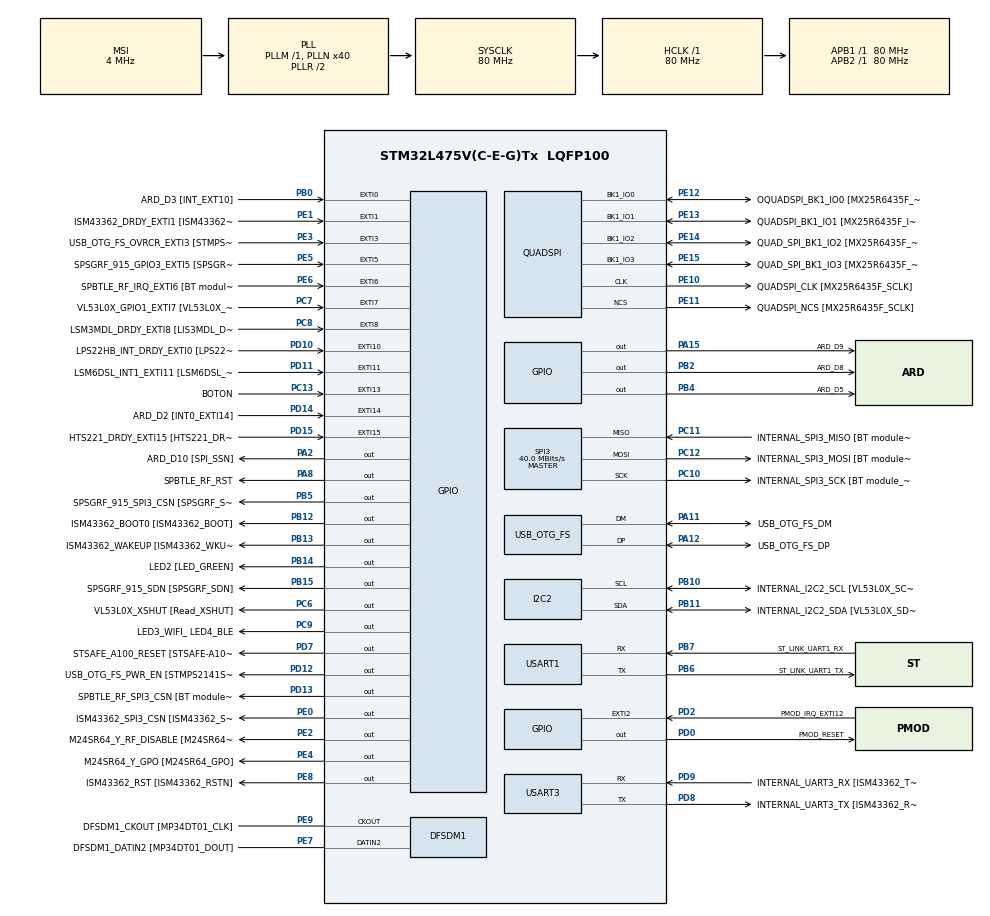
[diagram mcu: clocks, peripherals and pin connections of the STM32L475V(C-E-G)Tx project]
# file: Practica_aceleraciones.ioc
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FREERTOS.Queues01=Acelero,128,uint16_t,0,Dynamic,NULL,NULL
FREERTOS.Tasks01=sendAccel,24,128,sendAccel_func,Default,NULL,Dynamic,NULL,NULL;Notifico_boton,24,128,Notifico_botonfunc,Default,NULL,Dynamic,NULL,NULL
I2C2.Timing=0x10909CEC
Mcu.Family=STM32L4
Mcu.Name=STM32L475V(C-E-G)Tx
Mcu.Package=LQFP100
NVIC.EXTI15_10_IRQn=true\:5\:0\:false\:false\:true\:true\:true\:true\:true
NVIC.EXTI9_5_IRQn=true\:5\:0\:false\:false\:true\:true\:true\:true\:true
NVIC.PriorityGroup=NVIC_PRIORITYGROUP_4
NVIC.TIM6_DAC_IRQn=true\:15\:0\:false\:false\:true\:false\:false\:true\:true
NVIC.TimeBase=TIM6_DAC_IRQn
NVIC.TimeBaseIP=TIM6
PA0.GPIO_Label=ARD_D1 [UART4_TX]
PA0.Signal=UART4_TX
PA1.GPIO_Label=ARD_D0 [UART4_RX]
PA1.Signal=UART4_RX
PA10.GPIO_Label=USB_OTG_FS_ID
PA10.Signal=USB_OTG_FS_ID
PA11.GPIO_Label=USB_OTG_FS_DM
PA11.Mode=Device_Only
PA11.Signal=USB_OTG_FS_DM
PA12.GPIO_Label=USB_OTG_FS_DP
PA12.Mode=Device_Only
PA12.Signal=USB_OTG_FS_DP
PA13\ (JTMS-SWDIO).GPIO_Label=SYS_JTMS_SWDIO
PA13\ (JTMS-SWDIO).Mode=Trace_Asynchronous_SW
PA13\ (JTMS-SWDIO).Signal=SYS_JTMS-SWDIO
PA14\ (JTCK-SWCLK).GPIO_Label=SYS_JTCK_SWCLK
PA14\ (JTCK-SWCLK).Mode=Trace_Asynchronous_SW
PA14\ (JTCK-SWCLK).Signal=SYS_JTCK-SWCLK
PA15\ (JTDI).GPIO_Label=ARD_D9
PA15\ (JTDI).Signal=GPIO_Output
PA2.GPIO_Label=ARD_D10 [SPI_SSN]
PA2.Signal=GPIO_Output
PA3.GPIO_Label=ARD_D4
PA3.Signal=S_TIM2_CH4
PA4.GPIO_Label=ARD_D7
PA4.Signal=ADCx_IN9
PA5.GPIO_Label=ARD_D13 [SPI1_SCK]
PA5.Signal=SPI1_SCK
PA6.GPIO_Label=ARD_D12 [SPI1_MISO]
PA6.Signal=SPI1_MISO
PA7.GPIO_Label=ARD_D11 [SPI1_MOSI]
PA7.Signal=SPI1_MOSI
PA8.GPIO_Label=SPBTLE_RF_RST
PA8.Signal=GPIO_Output
PA9.GPIO_Label=USB_OTG_FS_VBUS [STMPS2141STR_OUT]
PA9.Signal=USB_OTG_FS_VBUS
PB0.GPIO_Label=ARD_D3 [INT_EXT10]
PB0.Signal=GPXTI0
PB1.GPIO_Label=ARD_D6 [ADC1_IN6]
PB1.Signal=ADCx_IN16
PB10.GPIO_Label=INTERNAL_I2C2_SCL [VL53L0X_SCL]
PB10.GPIO_Pu=GPIO_PULLUP
PB10.Mode=I2C
PB10.Signal=I2C2_SCL
PB11.GPIO_Label=INTERNAL_I2C2_SDA [VL53L0X_SDA]
PB11.GPIO_Pu=GPIO_PULLUP
PB11.Mode=I2C
PB11.Signal=I2C2_SDA
PB12.GPIO_Label=ISM43362_BOOT0 [ISM43362_BOOT]
PB12.Signal=GPIO_Output
PB13.GPIO_Label=ISM43362_WAKEUP [ISM43362_WKUP]
PB13.Signal=GPIO_Output
PB14.GPIO_Label=LED2 [LED_GREEN]
PB14.Signal=GPIO_Output
PB15.GPIO_Label=SPSGRF_915_SDN [SPSGRF_SDN]
PB15.Signal=GPIO_Output
PB2.GPIO_Label=ARD_D8
PB2.Signal=GPIO_Output
PB3\ (JTDO-TRACESWO).GPIO_Label=SYS_JTD0_SWO
PB3\ (JTDO-TRACESWO).Mode=Trace_Asynchronous_SW
PB3\ (JTDO-TRACESWO).Signal=SYS_JTDO-SWO
PB4\ (NJTRST).GPIO_Label=ARD_D5
PB4\ (NJTRST).Signal=GPIO_Output
PB5.GPIO_Label=SPSGRF_915_SPI3_CSN [SPSGRF_SPI_CS]
PB5.PinState=GPIO_PIN_SET
PB5.Signal=GPIO_Output
PB6.GPIO_Label=ST_LINK_UART1_TX
PB6.Mode=Asynchronous
PB6.Signal=USART1_TX
PB7.GPIO_Label=ST_LINK_UART1_RX
PB7.Mode=Asynchronous
PB7.Signal=USART1_RX
PB8.GPIO_Label=ARD_D15 [I2C1_SCL]
PB8.Signal=I2C1_SCL
PB9.GPIO_Label=ARD_D14 [I2C1_SDA]
PB9.Signal=I2C1_SDA
PC0.GPIO_Label=ARD_A5 [ADC]
PC0.Signal=ADCx_IN1
PC1.GPIO_Label=ARD_A4 [ADC]
PC1.Signal=ADCx_IN2
PC10.GPIO_Label=INTERNAL_SPI3_SCK [BT module_SPI_SCLK] [ISM43362_SCK]
PC10.Mode=Full_Duplex_Master
PC10.Signal=SPI3_SCK
PC11.GPIO_Label=INTERNAL_SPI3_MISO [BT module_SPI_MISO] [ISM43362_MISO]
PC11.Mode=Full_Duplex_Master
PC11.Signal=SPI3_MISO
PC12.GPIO_Label=INTERNAL_SPI3_MOSI [BT module_SPI_MOSI] [ISM43362_MOSI]
PC12.Mode=Full_Duplex_Master
PC12.Signal=SPI3_MOSI
PC13.GPIO_Label=BOTON
PC13.GPIO_ModeDefaultEXTI=GPIO_MODE_IT_FALLING
PC13.Signal=GPXTI13
PC14-OSC32_IN\ (PC14).Mode=LSE-External-Oscillator
PC14-OSC32_IN\ (PC14).Signal=RCC_OSC32_IN
PC15-OSC32_OUT\ (PC15).Mode=LSE-External-Oscillator
PC15-OSC32_OUT\ (PC15).Signal=RCC_OSC32_OUT
PC2.GPIO_Label=ARD_A3 [ADC]
PC2.Signal=ADCx_IN3
PC3.GPIO_Label=ARD_A2 [ADC]
PC3.Signal=ADCx_IN4
PC4.GPIO_Label=ARD_A1 [ADC]
PC4.Signal=ADCx_IN13
PC5.GPIO_Label=ARD_A0 [ADC]
PC5.Signal=ADCx_IN14
PC6.GPIO_Label=VL53L0X_XSHUT [Read_XSHUT]
PC6.Signal=GPIO_Output
PC7.GPIO_Label=VL53L0X_GPIO1_EXTI7 [VL53L0X_GPIO1]
PC7.Signal=GPXTI7
PC8.GPIO_Label=LSM3MDL_DRDY_EXTI8 [LIS3MDL_DRDY]
PC8.Signal=GPXTI8
PC9.GPIO_Label=LED3_WIFI_ LED4_BLE
PC9.Signal=GPIO_Output
PD0.GPIO_Label=PMOD_RESET
PD0.Signal=GPIO_Output
PD1.GPIO_Label=PMOD_SPI2_SCK
PD1.Signal=SPI2_SCK
PD10.GPIO_Label=LPS22HB_INT_DRDY_EXTI0 [LPS22HB_INT_DRDY] 
PD10.Signal=GPXTI10
PD11.GPIO_Label=LSM6DSL_INT1_EXTI11 [LSM6DSL_INT1]
PD11.Signal=GPXTI11
PD12.GPIO_Label=USB_OTG_FS_PWR_EN [STMPS2141STR_EN]
PD12.Signal=GPIO_Output
PD13.GPIO_Label=SPBTLE_RF_SPI3_CSN [BT module_SPI_CS]
PD13.PinState=GPIO_PIN_SET
PD13.Signal=GPIO_Output
PD14.GPIO_Label=ARD_D2 [INT0_EXTI14]
PD14.Signal=GPXTI14
PD15.GPIO_Label=HTS221_DRDY_EXTI15 [HTS221_DRDY]
PD15.Signal=GPXTI15
PD2.GPIO_Label=PMOD_IRQ_EXTI12
PD2.Signal=GPXTI2
PD3.GPIO_Label=PMOD_UART2_CTS
PD3.Signal=USART2_CTS
PD4.GPIO_Label=PMOD_UART2_RTS
PD4.Signal=USART2_RTS
PD5.GPIO_Label=PMOD_UART2_TX
PD5.Signal=USART2_TX
PD6.GPIO_Label=PMOD_UART2_RX
PD6.Signal=USART2_RX
PD7.GPIO_Label=STSAFE_A100_RESET [STSAFE-A100_RESET]
PD7.Signal=GPIO_Output
PD8.GPIO_Label=INTERNAL_UART3_TX [ISM43362_RX]
PD8.Mode=Asynchronous
PD8.Signal=USART3_TX
PD9.GPIO_Label=INTERNAL_UART3_RX [ISM43362_TX]
PD9.Mode=Asynchronous
PD9.Signal=USART3_RX
PE0.GPIO_Label=ISM43362_SPI3_CSN [ISM43362_SSN]
PE0.PinState=GPIO_PIN_SET
PE0.Signal=GPIO_Output
PE1.GPIO_Label=ISM43362_DRDY_EXTI1 [ISM43362_DATARDY]
PE1.Signal=GPXTI1
PE10.GPIO_Label=QUADSPI_CLK [MX25R6435F_SCLK]
PE10.Mode=Single Bank
PE10.Signal=QUADSPI_CLK
PE11.GPIO_Label=QUADSPI_NCS [MX25R6435F_SCLK]
PE11.Mode=Single Bank
PE11.Signal=QUADSPI_NCS
PE12.GPIO_Label=OQUADSPI_BK1_IO0 [MX25R6435F_IO0]
PE12.Mode=Single Bank
PE12.Signal=QUADSPI_BK1_IO0
PE13.GPIO_Label=QUADSPI_BK1_IO1 [MX25R6435F_IO1]
PE13.Mode=Single Bank
PE13.Signal=QUADSPI_BK1_IO1
PE14.GPIO_Label=QUAD_SPI_BK1_IO2 [MX25R6435F_IO2]
PE14.Mode=Single Bank
PE14.Signal=QUADSPI_BK1_IO2
PE15.GPIO_Label=QUAD_SPI_BK1_IO3 [MX25R6435F_IO3]
PE15.Mode=Single Bank
PE15.Signal=QUADSPI_BK1_IO3
PE2.GPIO_Label=M24SR64_Y_RF_DISABLE [M24SR64_RFDIS]
PE2.Signal=GPIO_Output
PE3.GPIO_Label=USB_OTG_FS_OVRCR_EXTI3 [STMPS2141STR_FAULT]
PE3.Signal=GPXTI3
PE4.GPIO_Label=M24SR64_Y_GPO [M24SR64_GPO]
PE4.Signal=GPIO_Output
PE5.GPIO_Label=SPSGRF_915_GPIO3_EXTI5 [SPSGRF_GPIO_3]
PE5.Signal=GPXTI5
PE6.GPIO_Label=SPBTLE_RF_IRQ_EXTI6 [BT module_SPI_IRQ]
PE6.Signal=GPXTI6
PE7.GPIO_Label=DFSDM1_DATIN2 [MP34DT01_DOUT]
PE7.Signal=S_DATAIN2DFSDM1
PE8.GPIO_Label=ISM43362_RST [ISM43362_RSTN]
PE8.Signal=GPIO_Output
PE9.GPIO_Label=DFSDM1_CKOUT [MP34DT01_CLK]
PE9.Signal=S_CKOUTDFSDM1
ProjectManager.HeapSize=0x200
ProjectManager.StackSize=0x400
ProjectManager.TargetToolchain=STM32CubeIDE
QUADSPI.ClockPrescaler=2
QUADSPI.FifoThreshold=4
QUADSPI.FlashSize=23
QUADSPI.SampleShifting=QSPI_SAMPLE_SHIFTING_HALFCYCLE
RCC.ADCFreq_Value=48000000
RCC.AHBFreq_Value=80000000
RCC.APB1Freq_Value=80000000
RCC.APB1TimFreq_Value=80000000
RCC.APB2Freq_Value=80000000
RCC.APB2TimFreq_Value=80000000
RCC.CortexFreq_Value=80000000
RCC.HCLKFreq_Value=80000000
RCC.HSE_VALUE=8000000
RCC.HSI_VALUE=16000000
RCC.MSI_VALUE=4000000
RCC.PLLN=40
RCC.PLLSAI1N=24
RCC.SYSCLKFreq_VALUE=80000000
RCC.SYSCLKSource=RCC_SYSCLKSOURCE_PLLCLK
RCC.USBFreq_Value=48000000
RCC.VCOOutputFreq_Value=160000000
SH.ADCx_IN1.0=ADC1_IN1
SH.ADCx_IN13.0=ADC1_IN13
SH.ADCx_IN14.0=ADC1_IN14
SH.ADCx_IN16.0=ADC1_IN16
SH.ADCx_IN2.0=ADC1_IN2
SH.ADCx_IN3.0=ADC1_IN3
SH.ADCx_IN4.0=ADC1_IN4
SH.ADCx_IN9.0=ADC1_IN9
SH.S_CKOUTDFSDM1.0=DFSDM1_CKOUT,CKOUT
SH.S_CKOUTDFSDM1.1=DFSDM1_CKOUT,PDM_SPI_Input_from_ch12_and_Internal_Clock
SH.S_DATAIN2DFSDM1.0=DFSDM1_DATIN2,PDM_SPI_Input_from_ch12_and_Internal_Clock
SH.S_TIM2_CH4.0=TIM2_CH4
SPI3.CalculateBaudRate=40.0 MBits/s
SPI3.Direction=SPI_DIRECTION_2LINES
SPI3.Mode=SPI_MODE_MASTER
SPI3.VirtualType=VM_MASTER
USART1.VirtualMode-Asynchronous=VM_ASYNC
USART3.VirtualMode-Asynchronous=VM_ASYNC
USB_OTG_FS.VirtualMode=Device_Only
VP_FREERTOS_VS_CMSIS_V2.Mode=CMSIS_V2
VP_SYS_VS_tim6.Mode=TIM6
board=B-L475E-IOT01A2

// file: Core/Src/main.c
/* USER CODE BEGIN Header */
/**
  ******************************************************************************
  * @file           : main.c
  * @brief          : Main program body
  ******************************************************************************
  * @attention
  *
  * Copyright (c) 2022 STMicroelectronics.
  * All rights reserved.
  *
  * This software is licensed under terms that can be found in the LICENSE file
  * in the root directory of this software component.
  * If no LICENSE file comes with this software, it is provided AS-IS.
  *
  ******************************************************************************
  */
/* USER CODE END Header */
#include "main.h"
#include "cmsis_os.h"

/* USER CODE BEGIN Includes */
#include "stdio.h"
#include "stm32l475e_iot01_accelero.h"
/* USER CODE END Includes */

DFSDM_Channel_HandleTypeDef hdfsdm1_channel1;

I2C_HandleTypeDef hi2c2;

QSPI_HandleTypeDef hqspi;

SPI_HandleTypeDef hspi3;

UART_HandleTypeDef huart1;
UART_HandleTypeDef huart3;

PCD_HandleTypeDef hpcd_USB_OTG_FS;

/* Definitions for sendAccel */
osThreadId_t sendAccelHandle;
const osThreadAttr_t sendAccel_attributes = {
  .name = "sendAccel",
  .stack_size = 128 * 4,
  .priority = (osPriority_t) osPriorityNormal,
};
/* Definitions for Notifico_boton */
osThreadId_t Notifico_botonHandle;
const osThreadAttr_t Notifico_boton_attributes = {
  .name = "Notifico_boton",
  .stack_size = 128 * 4,
  .priority = (osPriority_t) osPriorityNormal,
};
/* Definitions for Acelero */
osMessageQueueId_t AceleroHandle;
const osMessageQueueAttr_t Acelero_attributes = {
  .name = "Acelero"
};
/* USER CODE BEGIN PV */
uint8_t monitoreo_normal=0;
/* USER CODE END PV */

void SystemClock_Config(void);
static void MX_GPIO_Init(void);
static void MX_DFSDM1_Init(void);
static void MX_I2C2_Init(void);
static void MX_QUADSPI_Init(void);
static void MX_SPI3_Init(void);
static void MX_USART1_UART_Init(void);
static void MX_USART3_UART_Init(void);
static void MX_USB_OTG_FS_PCD_Init(void);
void sendAccel_func(void *argument);
void Notifico_botonfunc(void *argument);

/* USER CODE BEGIN PFP */
ACCELERO_StatusTypeDef BSP_ACCELERO_Init_INT(void);
/* USER CODE END PFP */

int main(void)
{

  /* MCU Configuration--------------------------------------------------------*/

  /* Reset of all peripherals, Initializes the Flash interface and the Systick. */
  HAL_Init();

  /* Configure the system clock */
  SystemClock_Config();

  /* Initialize all configured peripherals */
  MX_GPIO_Init();
  MX_DFSDM1_Init();
  MX_I2C2_Init();
  MX_QUADSPI_Init();
  MX_SPI3_Init();
  MX_USART1_UART_Init();
  MX_USART3_UART_Init();
  MX_USB_OTG_FS_PCD_Init();
  /* USER CODE BEGIN 2 */
  ACCELERO_StatusTypeDef status_acc;
  status_acc = BSP_ACCELERO_Init_INT();
  if(status_acc == ACCELERO_OK){
	  printf("Inicializado ACCELERO\r\n");
  }
  /* USER CODE END 2 */

  /* Init scheduler */
  osKernelInitialize();

  /* Create the queue(s) */
  /* creation of Acelero */
  AceleroHandle = osMessageQueueNew (128, sizeof(uint16_t), &Acelero_attributes);

  /* Create the thread(s) */
  /* creation of sendAccel */
  sendAccelHandle = osThreadNew(sendAccel_func, NULL, &sendAccel_attributes);

  /* creation of Notifico_boton */
  Notifico_botonHandle = osThreadNew(Notifico_botonfunc, NULL, &Notifico_boton_attributes);

  /* Start scheduler */
  osKernelStart();

  /* We should never get here as control is now taken by the scheduler */
  /* Infinite loop */
  while (1)
  {

  }
}

void SystemClock_Config(void)
{
  RCC_OscInitTypeDef RCC_OscInitStruct = {0};
  RCC_ClkInitTypeDef RCC_ClkInitStruct = {0};

  /** Configure the main internal regulator output voltage
  */
  if (HAL_PWREx_ControlVoltageScaling(PWR_REGULATOR_VOLTAGE_SCALE1) != HAL_OK)
  {
    Error_Handler();
  }

  /** Configure LSE Drive Capability
  */
  HAL_PWR_EnableBkUpAccess();
  __HAL_RCC_LSEDRIVE_CONFIG(RCC_LSEDRIVE_LOW);

  /** Initializes the RCC Oscillators according to the specified parameters
  * in the RCC_OscInitTypeDef structure.
  */
  RCC_OscInitStruct.OscillatorType = RCC_OSCILLATORTYPE_LSE|RCC_OSCILLATORTYPE_MSI;
  RCC_OscInitStruct.LSEState = RCC_LSE_ON;
  RCC_OscInitStruct.MSIState = RCC_MSI_ON;
  RCC_OscInitStruct.MSICalibrationValue = 0;
  RCC_OscInitStruct.MSIClockRange = RCC_MSIRANGE_6;
  RCC_OscInitStruct.PLL.PLLState = RCC_PLL_ON;
  RCC_OscInitStruct.PLL.PLLSource = RCC_PLLSOURCE_MSI;
  RCC_OscInitStruct.PLL.PLLM = 1;
  RCC_OscInitStruct.PLL.PLLN = 40;
  RCC_OscInitStruct.PLL.PLLP = RCC_PLLP_DIV7;
  RCC_OscInitStruct.PLL.PLLQ = RCC_PLLQ_DIV2;
  RCC_OscInitStruct.PLL.PLLR = RCC_PLLR_DIV2;
  if (HAL_RCC_OscConfig(&RCC_OscInitStruct) != HAL_OK)
  {
    Error_Handler();
  }

  /** Initializes the CPU, AHB and APB buses clocks
  */
  RCC_ClkInitStruct.ClockType = RCC_CLOCKTYPE_HCLK|RCC_CLOCKTYPE_SYSCLK
                              |RCC_CLOCKTYPE_PCLK1|RCC_CLOCKTYPE_PCLK2;
  RCC_ClkInitStruct.SYSCLKSource = RCC_SYSCLKSOURCE_PLLCLK;
  RCC_ClkInitStruct.AHBCLKDivider = RCC_SYSCLK_DIV1;
  RCC_ClkInitStruct.APB1CLKDivider = RCC_HCLK_DIV1;
  RCC_ClkInitStruct.APB2CLKDivider = RCC_HCLK_DIV1;

  if (HAL_RCC_ClockConfig(&RCC_ClkInitStruct, FLASH_LATENCY_4) != HAL_OK)
  {
    Error_Handler();
  }

  /** Enable MSI Auto calibration
  */
  HAL_RCCEx_EnableMSIPLLMode();
}

static void MX_DFSDM1_Init(void)
{

  hdfsdm1_channel1.Instance = DFSDM1_Channel1;
  hdfsdm1_channel1.Init.OutputClock.Activation = ENABLE;
  hdfsdm1_channel1.Init.OutputClock.Selection = DFSDM_CHANNEL_OUTPUT_CLOCK_SYSTEM;
  hdfsdm1_channel1.Init.OutputClock.Divider = 2;
  hdfsdm1_channel1.Init.Input.Multiplexer = DFSDM_CHANNEL_EXTERNAL_INPUTS;
  hdfsdm1_channel1.Init.Input.DataPacking = DFSDM_CHANNEL_STANDARD_MODE;
  hdfsdm1_channel1.Init.Input.Pins = DFSDM_CHANNEL_FOLLOWING_CHANNEL_PINS;
  hdfsdm1_channel1.Init.SerialInterface.Type = DFSDM_CHANNEL_SPI_RISING;
  hdfsdm1_channel1.Init.SerialInterface.SpiClock = DFSDM_CHANNEL_SPI_CLOCK_INTERNAL;
  hdfsdm1_channel1.Init.Awd.FilterOrder = DFSDM_CHANNEL_FASTSINC_ORDER;
  hdfsdm1_channel1.Init.Awd.Oversampling = 1;
  hdfsdm1_channel1.Init.Offset = 0;
  hdfsdm1_channel1.Init.RightBitShift = 0x00;
  if (HAL_DFSDM_ChannelInit(&hdfsdm1_channel1) != HAL_OK)
  {
    Error_Handler();
  }

}

static void MX_I2C2_Init(void)
{

  hi2c2.Instance = I2C2;
  hi2c2.Init.Timing = 0x10909CEC;
  hi2c2.Init.OwnAddress1 = 0;
  hi2c2.Init.AddressingMode = I2C_ADDRESSINGMODE_7BIT;
  hi2c2.Init.DualAddressMode = I2C_DUALADDRESS_DISABLE;
  hi2c2.Init.OwnAddress2 = 0;
  hi2c2.Init.OwnAddress2Masks = I2C_OA2_NOMASK;
  hi2c2.Init.GeneralCallMode = I2C_GENERALCALL_DISABLE;
  hi2c2.Init.NoStretchMode = I2C_NOSTRETCH_DISABLE;
  if (HAL_I2C_Init(&hi2c2) != HAL_OK)
  {
    Error_Handler();
  }

  /** Configure Analogue filter
  */
  if (HAL_I2CEx_ConfigAnalogFilter(&hi2c2, I2C_ANALOGFILTER_ENABLE) != HAL_OK)
  {
    Error_Handler();
  }

  /** Configure Digital filter
  */
  if (HAL_I2CEx_ConfigDigitalFilter(&hi2c2, 0) != HAL_OK)
  {
    Error_Handler();
  }

}

static void MX_QUADSPI_Init(void)
{

  /* QUADSPI parameter configuration*/
  hqspi.Instance = QUADSPI;
  hqspi.Init.ClockPrescaler = 2;
  hqspi.Init.FifoThreshold = 4;
  hqspi.Init.SampleShifting = QSPI_SAMPLE_SHIFTING_HALFCYCLE;
  hqspi.Init.FlashSize = 23;
  hqspi.Init.ChipSelectHighTime = QSPI_CS_HIGH_TIME_1_CYCLE;
  hqspi.Init.ClockMode = QSPI_CLOCK_MODE_0;
  if (HAL_QSPI_Init(&hqspi) != HAL_OK)
  {
    Error_Handler();
  }

}

static void MX_SPI3_Init(void)
{

  /* SPI3 parameter configuration*/
  hspi3.Instance = SPI3;
  hspi3.Init.Mode = SPI_MODE_MASTER;
  hspi3.Init.Direction = SPI_DIRECTION_2LINES;
  hspi3.Init.DataSize = SPI_DATASIZE_4BIT;
  hspi3.Init.CLKPolarity = SPI_POLARITY_LOW;
  hspi3.Init.CLKPhase = SPI_PHASE_1EDGE;
  hspi3.Init.NSS = SPI_NSS_SOFT;
  hspi3.Init.BaudRatePrescaler = SPI_BAUDRATEPRESCALER_2;
  hspi3.Init.FirstBit = SPI_FIRSTBIT_MSB;
  hspi3.Init.TIMode = SPI_TIMODE_DISABLE;
  hspi3.Init.CRCCalculation = SPI_CRCCALCULATION_DISABLE;
  hspi3.Init.CRCPolynomial = 7;
  hspi3.Init.CRCLength = SPI_CRC_LENGTH_DATASIZE;
  hspi3.Init.NSSPMode = SPI_NSS_PULSE_ENABLE;
  if (HAL_SPI_Init(&hspi3) != HAL_OK)
  {
    Error_Handler();
  }

}

static void MX_USART1_UART_Init(void)
{

  huart1.Instance = USART1;
  huart1.Init.BaudRate = 115200;
  huart1.Init.WordLength = UART_WORDLENGTH_8B;
  huart1.Init.StopBits = UART_STOPBITS_1;
  huart1.Init.Parity = UART_PARITY_NONE;
  huart1.Init.Mode = UART_MODE_TX_RX;
  huart1.Init.HwFlowCtl = UART_HWCONTROL_NONE;
  huart1.Init.OverSampling = UART_OVERSAMPLING_16;
  huart1.Init.OneBitSampling = UART_ONE_BIT_SAMPLE_DISABLE;
  huart1.AdvancedInit.AdvFeatureInit = UART_ADVFEATURE_NO_INIT;
  if (HAL_UART_Init(&huart1) != HAL_OK)
  {
    Error_Handler();
  }

}

static void MX_USART3_UART_Init(void)
{

  huart3.Instance = USART3;
  huart3.Init.BaudRate = 115200;
  huart3.Init.WordLength = UART_WORDLENGTH_8B;
  huart3.Init.StopBits = UART_STOPBITS_1;
  huart3.Init.Parity = UART_PARITY_NONE;
  huart3.Init.Mode = UART_MODE_TX_RX;
  huart3.Init.HwFlowCtl = UART_HWCONTROL_NONE;
  huart3.Init.OverSampling = UART_OVERSAMPLING_16;
  huart3.Init.OneBitSampling = UART_ONE_BIT_SAMPLE_DISABLE;
  huart3.AdvancedInit.AdvFeatureInit = UART_ADVFEATURE_NO_INIT;
  if (HAL_UART_Init(&huart3) != HAL_OK)
  {
    Error_Handler();
  }

}

static void MX_USB_OTG_FS_PCD_Init(void)
{

  hpcd_USB_OTG_FS.Instance = USB_OTG_FS;
  hpcd_USB_OTG_FS.Init.dev_endpoints = 6;
  hpcd_USB_OTG_FS.Init.speed = PCD_SPEED_FULL;
  hpcd_USB_OTG_FS.Init.phy_itface = PCD_PHY_EMBEDDED;
  hpcd_USB_OTG_FS.Init.Sof_enable = DISABLE;
  hpcd_USB_OTG_FS.Init.low_power_enable = DISABLE;
  hpcd_USB_OTG_FS.Init.lpm_enable = DISABLE;
  hpcd_USB_OTG_FS.Init.battery_charging_enable = DISABLE;
  hpcd_USB_OTG_FS.Init.use_dedicated_ep1 = DISABLE;
  hpcd_USB_OTG_FS.Init.vbus_sensing_enable = DISABLE;
  if (HAL_PCD_Init(&hpcd_USB_OTG_FS) != HAL_OK)
  {
    Error_Handler();
  }

}

static void MX_GPIO_Init(void)
{
  GPIO_InitTypeDef GPIO_InitStruct = {0};

  /* GPIO Ports Clock Enable */
  __HAL_RCC_GPIOE_CLK_ENABLE();
  __HAL_RCC_GPIOC_CLK_ENABLE();
  __HAL_RCC_GPIOA_CLK_ENABLE();
  __HAL_RCC_GPIOB_CLK_ENABLE();
  __HAL_RCC_GPIOD_CLK_ENABLE();

  /*Configure GPIO pin Output Level */
  HAL_GPIO_WritePin(GPIOE, M24SR64_Y_RF_DISABLE_Pin|M24SR64_Y_GPO_Pin|ISM43362_RST_Pin, GPIO_PIN_RESET);

  /*Configure GPIO pin Output Level */
  HAL_GPIO_WritePin(GPIOA, ARD_D10_Pin|SPBTLE_RF_RST_Pin|ARD_D9_Pin, GPIO_PIN_RESET);

  /*Configure GPIO pin Output Level */
  HAL_GPIO_WritePin(GPIOB, ARD_D8_Pin|ISM43362_BOOT0_Pin|ISM43362_WAKEUP_Pin|LED2_Pin
                          |SPSGRF_915_SDN_Pin|ARD_D5_Pin, GPIO_PIN_RESET);

  /*Configure GPIO pin Output Level */
  HAL_GPIO_WritePin(GPIOD, USB_OTG_FS_PWR_EN_Pin|PMOD_RESET_Pin|STSAFE_A100_RESET_Pin, GPIO_PIN_RESET);

  /*Configure GPIO pin Output Level */
  HAL_GPIO_WritePin(SPBTLE_RF_SPI3_CSN_GPIO_Port, SPBTLE_RF_SPI3_CSN_Pin, GPIO_PIN_SET);

  /*Configure GPIO pin Output Level */
  HAL_GPIO_WritePin(GPIOC, VL53L0X_XSHUT_Pin|LED3_WIFI__LED4_BLE_Pin, GPIO_PIN_RESET);

  /*Configure GPIO pin Output Level */
  HAL_GPIO_WritePin(SPSGRF_915_SPI3_CSN_GPIO_Port, SPSGRF_915_SPI3_CSN_Pin, GPIO_PIN_SET);

  /*Configure GPIO pin Output Level */
  HAL_GPIO_WritePin(ISM43362_SPI3_CSN_GPIO_Port, ISM43362_SPI3_CSN_Pin, GPIO_PIN_SET);

  /*Configure GPIO pins : M24SR64_Y_RF_DISABLE_Pin M24SR64_Y_GPO_Pin ISM43362_RST_Pin ISM43362_SPI3_CSN_Pin */
  GPIO_InitStruct.Pin = M24SR64_Y_RF_DISABLE_Pin|M24SR64_Y_GPO_Pin|ISM43362_RST_Pin|ISM43362_SPI3_CSN_Pin;
  GPIO_InitStruct.Mode = GPIO_MODE_OUTPUT_PP;
  GPIO_InitStruct.Pull = GPIO_NOPULL;
  GPIO_InitStruct.Speed = GPIO_SPEED_FREQ_LOW;
  HAL_GPIO_Init(GPIOE, &GPIO_InitStruct);

  /*Configure GPIO pins : USB_OTG_FS_OVRCR_EXTI3_Pin SPSGRF_915_GPIO3_EXTI5_Pin SPBTLE_RF_IRQ_EXTI6_Pin ISM43362_DRDY_EXTI1_Pin */
  GPIO_InitStruct.Pin = USB_OTG_FS_OVRCR_EXTI3_Pin|SPSGRF_915_GPIO3_EXTI5_Pin|SPBTLE_RF_IRQ_EXTI6_Pin|ISM43362_DRDY_EXTI1_Pin;
  GPIO_InitStruct.Mode = GPIO_MODE_IT_RISING;
  GPIO_InitStruct.Pull = GPIO_NOPULL;
  HAL_GPIO_Init(GPIOE, &GPIO_InitStruct);

  /*Configure GPIO pin : BOTON_Pin */
  GPIO_InitStruct.Pin = BOTON_Pin;
  GPIO_InitStruct.Mode = GPIO_MODE_IT_FALLING;
  GPIO_InitStruct.Pull = GPIO_NOPULL;
  HAL_GPIO_Init(BOTON_GPIO_Port, &GPIO_InitStruct);

  /*Configure GPIO pins : ARD_A5_Pin ARD_A4_Pin ARD_A3_Pin ARD_A2_Pin
                           ARD_A1_Pin ARD_A0_Pin */
  GPIO_InitStruct.Pin = ARD_A5_Pin|ARD_A4_Pin|ARD_A3_Pin|ARD_A2_Pin
                          |ARD_A1_Pin|ARD_A0_Pin;
  GPIO_InitStruct.Mode = GPIO_MODE_ANALOG_ADC_CONTROL;
  GPIO_InitStruct.Pull = GPIO_NOPULL;
  HAL_GPIO_Init(GPIOC, &GPIO_InitStruct);

  /*Configure GPIO pins : ARD_D1_Pin ARD_D0_Pin */
  GPIO_InitStruct.Pin = ARD_D1_Pin|ARD_D0_Pin;
  GPIO_InitStruct.Mode = GPIO_MODE_AF_PP;
  GPIO_InitStruct.Pull = GPIO_NOPULL;
  GPIO_InitStruct.Speed = GPIO_SPEED_FREQ_VERY_HIGH;
  GPIO_InitStruct.Alternate = GPIO_AF8_UART4;
  HAL_GPIO_Init(GPIOA, &GPIO_InitStruct);

  /*Configure GPIO pins : ARD_D10_Pin SPBTLE_RF_RST_Pin ARD_D9_Pin */
  GPIO_InitStruct.Pin = ARD_D10_Pin|SPBTLE_RF_RST_Pin|ARD_D9_Pin;
  GPIO_InitStruct.Mode = GPIO_MODE_OUTPUT_PP;
  GPIO_InitStruct.Pull = GPIO_NOPULL;
  GPIO_InitStruct.Speed = GPIO_SPEED_FREQ_LOW;
  HAL_GPIO_Init(GPIOA, &GPIO_InitStruct);

  /*Configure GPIO pin : ARD_D4_Pin */
  GPIO_InitStruct.Pin = ARD_D4_Pin;
  GPIO_InitStruct.Mode = GPIO_MODE_AF_PP;
  GPIO_InitStruct.Pull = GPIO_NOPULL;
  GPIO_InitStruct.Speed = GPIO_SPEED_FREQ_LOW;
  GPIO_InitStruct.Alternate = GPIO_AF1_TIM2;
  HAL_GPIO_Init(ARD_D4_GPIO_Port, &GPIO_InitStruct);

  /*Configure GPIO pin : ARD_D7_Pin */
  GPIO_InitStruct.Pin = ARD_D7_Pin;
  GPIO_InitStruct.Mode = GPIO_MODE_ANALOG_ADC_CONTROL;
  GPIO_InitStruct.Pull = GPIO_NOPULL;
  HAL_GPIO_Init(ARD_D7_GPIO_Port, &GPIO_InitStruct);

  /*Configure GPIO pins : ARD_D13_Pin ARD_D12_Pin ARD_D11_Pin */
  GPIO_InitStruct.Pin = ARD_D13_Pin|ARD_D12_Pin|ARD_D11_Pin;
  GPIO_InitStruct.Mode = GPIO_MODE_AF_PP;
  GPIO_InitStruct.Pull = GPIO_NOPULL;
  GPIO_InitStruct.Speed = GPIO_SPEED_FREQ_VERY_HIGH;
  GPIO_InitStruct.Alternate = GPIO_AF5_SPI1;
  HAL_GPIO_Init(GPIOA, &GPIO_InitStruct);

  /*Configure GPIO pin : ARD_D3_Pin */
  GPIO_InitStruct.Pin = ARD_D3_Pin;
  GPIO_InitStruct.Mode = GPIO_MODE_IT_RISING;
  GPIO_InitStruct.Pull = GPIO_NOPULL;
  HAL_GPIO_Init(ARD_D3_GPIO_Port, &GPIO_InitStruct);

  /*Configure GPIO pin : ARD_D6_Pin */
  GPIO_InitStruct.Pin = ARD_D6_Pin;
  GPIO_InitStruct.Mode = GPIO_MODE_ANALOG_ADC_CONTROL;
  GPIO_InitStruct.Pull = GPIO_NOPULL;
  HAL_GPIO_Init(ARD_D6_GPIO_Port, &GPIO_InitStruct);

  /*Configure GPIO pins : ARD_D8_Pin ISM43362_BOOT0_Pin ISM43362_WAKEUP_Pin LED2_Pin
                           SPSGRF_915_SDN_Pin ARD_D5_Pin SPSGRF_915_SPI3_CSN_Pin */
  GPIO_InitStruct.Pin = ARD_D8_Pin|ISM43362_BOOT0_Pin|ISM43362_WAKEUP_Pin|LED2_Pin
                          |SPSGRF_915_SDN_Pin|ARD_D5_Pin|SPSGRF_915_SPI3_CSN_Pin;
  GPIO_InitStruct.Mode = GPIO_MODE_OUTPUT_PP;
  GPIO_InitStruct.Pull = GPIO_NOPULL;
  GPIO_InitStruct.Speed = GPIO_SPEED_FREQ_LOW;
  HAL_GPIO_Init(GPIOB, &GPIO_InitStruct);

  /*Configure GPIO pins : LPS22HB_INT_DRDY_EXTI0_Pin LSM6DSL_INT1_EXTI11_Pin ARD_D2_Pin HTS221_DRDY_EXTI15_Pin
                           PMOD_IRQ_EXTI12_Pin */
  GPIO_InitStruct.Pin = LPS22HB_INT_DRDY_EXTI0_Pin|LSM6DSL_INT1_EXTI11_Pin|ARD_D2_Pin|HTS221_DRDY_EXTI15_Pin
                          |PMOD_IRQ_EXTI12_Pin;
  GPIO_InitStruct.Mode = GPIO_MODE_IT_RISING;
  GPIO_InitStruct.Pull = GPIO_NOPULL;
  HAL_GPIO_Init(GPIOD, &GPIO_InitStruct);

  /*Configure GPIO pins : USB_OTG_FS_PWR_EN_Pin SPBTLE_RF_SPI3_CSN_Pin PMOD_RESET_Pin STSAFE_A100_RESET_Pin */
  GPIO_InitStruct.Pin = USB_OTG_FS_PWR_EN_Pin|SPBTLE_RF_SPI3_CSN_Pin|PMOD_RESET_Pin|STSAFE_A100_RESET_Pin;
  GPIO_InitStruct.Mode = GPIO_MODE_OUTPUT_PP;
  GPIO_InitStruct.Pull = GPIO_NOPULL;
  GPIO_InitStruct.Speed = GPIO_SPEED_FREQ_LOW;
  HAL_GPIO_Init(GPIOD, &GPIO_InitStruct);

  /*Configure GPIO pins : VL53L0X_XSHUT_Pin LED3_WIFI__LED4_BLE_Pin */
  GPIO_InitStruct.Pin = VL53L0X_XSHUT_Pin|LED3_WIFI__LED4_BLE_Pin;
  GPIO_InitStruct.Mode = GPIO_MODE_OUTPUT_PP;
  GPIO_InitStruct.Pull = GPIO_NOPULL;
  GPIO_InitStruct.Speed = GPIO_SPEED_FREQ_LOW;
  HAL_GPIO_Init(GPIOC, &GPIO_InitStruct);

  /*Configure GPIO pins : VL53L0X_GPIO1_EXTI7_Pin LSM3MDL_DRDY_EXTI8_Pin */
  GPIO_InitStruct.Pin = VL53L0X_GPIO1_EXTI7_Pin|LSM3MDL_DRDY_EXTI8_Pin;
  GPIO_InitStruct.Mode = GPIO_MODE_IT_RISING;
  GPIO_InitStruct.Pull = GPIO_NOPULL;
  HAL_GPIO_Init(GPIOC, &GPIO_InitStruct);

  /*Configure GPIO pin : PMOD_SPI2_SCK_Pin */
  GPIO_InitStruct.Pin = PMOD_SPI2_SCK_Pin;
  GPIO_InitStruct.Mode = GPIO_MODE_AF_PP;
  GPIO_InitStruct.Pull = GPIO_NOPULL;
  GPIO_InitStruct.Speed = GPIO_SPEED_FREQ_VERY_HIGH;
  GPIO_InitStruct.Alternate = GPIO_AF5_SPI2;
  HAL_GPIO_Init(PMOD_SPI2_SCK_GPIO_Port, &GPIO_InitStruct);

  /*Configure GPIO pins : PMOD_UART2_CTS_Pin PMOD_UART2_RTS_Pin PMOD_UART2_TX_Pin PMOD_UART2_RX_Pin */
  GPIO_InitStruct.Pin = PMOD_UART2_CTS_Pin|PMOD_UART2_RTS_Pin|PMOD_UART2_TX_Pin|PMOD_UART2_RX_Pin;
  GPIO_InitStruct.Mode = GPIO_MODE_AF_PP;
  GPIO_InitStruct.Pull = GPIO_NOPULL;
  GPIO_InitStruct.Speed = GPIO_SPEED_FREQ_VERY_HIGH;
  GPIO_InitStruct.Alternate = GPIO_AF7_USART2;
  HAL_GPIO_Init(GPIOD, &GPIO_InitStruct);

  /*Configure GPIO pins : ARD_D15_Pin ARD_D14_Pin */
  GPIO_InitStruct.Pin = ARD_D15_Pin|ARD_D14_Pin;
  GPIO_InitStruct.Mode = GPIO_MODE_AF_OD;
  GPIO_InitStruct.Pull = GPIO_NOPULL;
  GPIO_InitStruct.Speed = GPIO_SPEED_FREQ_VERY_HIGH;
  GPIO_InitStruct.Alternate = GPIO_AF4_I2C1;
  HAL_GPIO_Init(GPIOB, &GPIO_InitStruct);

  /* EXTI interrupt init*/
  HAL_NVIC_SetPriority(EXTI9_5_IRQn, 5, 0);
  HAL_NVIC_EnableIRQ(EXTI9_5_IRQn);

  HAL_NVIC_SetPriority(EXTI15_10_IRQn, 5, 0);
  HAL_NVIC_EnableIRQ(EXTI15_10_IRQn);

}

/* USER CODE BEGIN 4 */
int _write(int file, char *ptr, int len)
{
int DataIdx;
for(DataIdx=0; DataIdx<len; DataIdx++)
{
ITM_SendChar(*ptr++);
}
return len;
}

ACCELERO_StatusTypeDef BSP_ACCELERO_Init_INT(void){
ACCELERO_StatusTypeDef ret;
ret = BSP_ACCELERO_Init();
if (ret == ACCELERO_OK)
{
/* Initialize interruption*/
uint8_t tmp;
tmp = SENSOR_IO_Read(LSM6DSL_ACC_GYRO_I2C_ADDRESS_LOW, LSM6DSL_ACC_GYRO_DRDY_PULSE_CFG_G);
tmp |=0b10000000;
SENSOR_IO_Write(LSM6DSL_ACC_GYRO_I2C_ADDRESS_LOW, LSM6DSL_ACC_GYRO_DRDY_PULSE_CFG_G, tmp);
tmp = SENSOR_IO_Read(LSM6DSL_ACC_GYRO_I2C_ADDRESS_LOW, LSM6DSL_ACC_GYRO_INT1_CTRL);
tmp |=0b00000001;
SENSOR_IO_Write(LSM6DSL_ACC_GYRO_I2C_ADDRESS_LOW, LSM6DSL_ACC_GYRO_INT1_CTRL, tmp);
tmp = SENSOR_IO_Read(LSM6DSL_ACC_GYRO_I2C_ADDRESS_LOW, LSM6DSL_ACC_GYRO_MASTER_CONFIG);
tmp |=0b10000000;
SENSOR_IO_Write(LSM6DSL_ACC_GYRO_I2C_ADDRESS_LOW, LSM6DSL_ACC_GYRO_MASTER_CONFIG, tmp);
}
return ret;
}

void HAL_GPIO_EXTI_Callback(uint16_t GPIO_Pin){
if (GPIO_Pin == LSM6DSL_INT1_EXTI11_Pin)
{
/* Aquí escribiremos nuestra funcionalidad*/
osThreadFlagsSet(sendAccelHandle, 0x00000001U);
}
if (GPIO_Pin == BOTON_Pin){
/* Aquí escribiremos nuestra funcionalidad*/
	osThreadFlagsSet(Notifico_botonHandle, 0x00000001U);
}

}

/* USER CODE END 4 */

void sendAccel_func(void *argument)
{
  /* USER CODE BEGIN 5 */
	int16_t DataXYZ[3];
	int16_t *pDataXYZ = DataXYZ;
	uint32_t tick;
	uint32_t espacio_cola;
  /* Infinite loop */
	for(;;)
	{
	osThreadFlagsWait(0x00000001U, osFlagsWaitAny, osWaitForever);
	BSP_ACCELERO_AccGetXYZ(pDataXYZ);
	tick = osKernelGetTickCount();
	//printf("Tick: %ld Eje x: %d Eje y: %d Eje z: %d \r\n", tick, DataXYZ[0], DataXYZ[1], DataXYZ[2]);
	//printf("Recogida datos\r\n");
	espacio_cola=osMessageQueueGetSpace(AceleroHandle);
	if(espacio_cola!=0){
	printf("Espacio en la cola: %d\r\n",espacio_cola);
	}
	osMessageQueuePut(AceleroHandle,&DataXYZ[2],0,pdMS_TO_TICKS(10));
	osMessageQueuePut(AceleroHandle,&tick,0,pdMS_TO_TICKS(10));
	if(espacio_cola!=0){
	printf("Tick: %ld Eje x: %d Eje y: %d Eje z: %d \r\n", tick, DataXYZ[0], DataXYZ[1], DataXYZ[2]);
	printf("Se ha metido un dato de: %d\r\n",DataXYZ[2]);
	printf("Se ha metido un tick de: %d\r\n",tick);
	}

	}
  /* USER CODE END 5 */
}

void Notifico_botonfunc(void *argument)
{
  /* USER CODE BEGIN Notifico_botonfunc */
	uint32_t read_estado_flag;
	uint32_t contador_cola;
	uint16_t dato_cola;
	uint16_t datos_cola[128];
  /* Infinite loop */
  for(;;)
  {
	  read_estado_flag=osThreadFlagsWait(0x00000001U, osFlagsWaitAny, pdMS_TO_TICKS(7000)); //Cada diez segundos
	  //Cojo los datos:
	  if(read_estado_flag == 0x00000001U){
		  printf("Le he dado al boton\r\n");
	  }
	  else if(read_estado_flag == osErrorTimeout){
		  printf("Ha saltado el timeout\r\n");
	  }
	  if(osMessageQueueGetSpace(AceleroHandle)==0){
	  for(int i=0; i<128; i++){
		  osMessageQueueGet(AceleroHandle, dato_cola, NULL, pdMS_TO_TICKS(10));
		  datos_cola[i]=dato_cola;
		  //contador_cola = osMessageQueueGetCount(AceleroHandle);
	  }
	 }
	  else{
	  osMessageQueueReset(AceleroHandle);
	  }
  }
  /* USER CODE END Notifico_botonfunc */
}

void HAL_TIM_PeriodElapsedCallback(TIM_HandleTypeDef *htim)
{
  if (htim->Instance == TIM6) {
    HAL_IncTick();
  }
}

void Error_Handler(void)
{
  __disable_irq();
  while (1)
  {
  }
}
